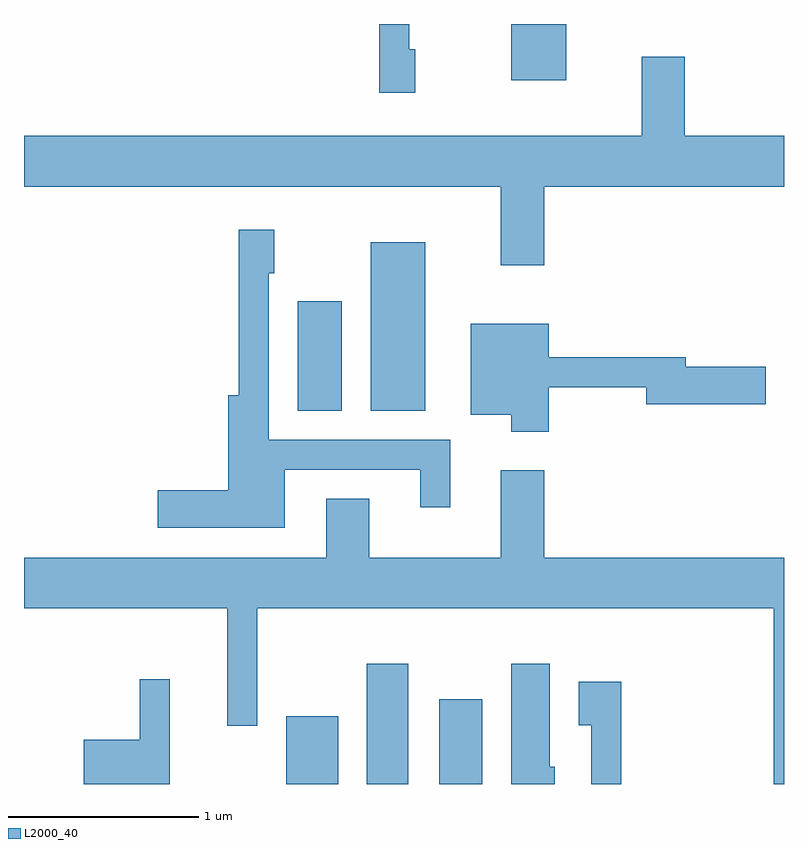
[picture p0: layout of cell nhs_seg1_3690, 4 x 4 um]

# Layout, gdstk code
import gdstk
lib = gdstk.Library(unit=1e-6, precision=1e-09)
def R(c, l, rs):  # rectangles x0, y0, x1, y1
    for r in rs: c.add(gdstk.rectangle(r[:2], r[2:], *l))
def P(c, l, *ps):  # polygons
    for p in ps: c.add(gdstk.Polygon(p, *l))
L2000_40 = (2000, 40)

nhs_seg1_3690 = lib.new_cell('nhs_seg1_3690')
R(nhs_seg1_3690, L2000_40, [(296.991,949.712,297.264,950.069), (297.416,949.712,297.634,950.344), (297.796,949.712,298.024,950.159), (297.051,951.676,297.284,952.254), (297.436,951.676,297.724,952.564), (298.176,953.416,298.464,953.712)])
P(nhs_seg1_3690, L2000_40, [(297.669,953.579),(297.639,953.579),(297.639,953.712),(297.481,953.712),(297.481,953.351),(297.669,953.351)],
  [(298.349,952.856),(299.611,952.856),(299.611,953.124),(299.089,953.124),(299.089,953.539),(298.861,953.539),(298.861,953.124),(295.611,953.124),(295.611,952.856),(298.121,952.856),(298.121,952.441),(298.349,952.441)],
  [(296.984,951.366),(297.696,951.366),(297.696,951.168),(297.854,951.168),(297.854,951.524),(296.899,951.524),(296.899,952.401),(296.929,952.401),(296.929,952.629),(296.741,952.629),(296.741,951.759),(296.686,951.759),(296.686,951.259),(296.316,951.259),(296.316,951.061),(296.984,951.061)],
  [(298.374,951.801),(298.886,951.801),(298.886,951.711),(299.514,951.711),(299.514,951.909),(299.094,951.909),(299.094,951.959),(298.374,951.959),(298.374,952.134),(297.961,952.134),(297.961,951.656),(298.176,951.656),(298.176,951.566),(298.374,951.566)],
  [(299.611,950.904),(298.349,950.904),(298.349,951.364),(298.121,951.364),(298.121,950.904),(297.429,950.904),(297.429,951.214),(297.201,951.214),(297.201,950.904),(295.611,950.904),(295.611,950.636),(296.681,950.636),(296.681,950.018),(296.839,950.018),(296.839,950.636),(299.556,950.636),(299.556,949.712),(299.611,949.712)],
  [(298.404,949.804),(298.379,949.804),(298.379,950.344),(298.176,950.344),(298.176,949.712),(298.404,949.712)],
  [(296.379,950.263),(296.221,950.263),(296.221,949.944),(295.926,949.944),(295.926,949.712),(296.379,949.712)],
  [(298.754,950.249),(298.531,950.249),(298.531,950.021),(298.596,950.021),(298.596,949.712),(298.754,949.712)])

lib.write_gds('nhs_seg1_3690.gds')
